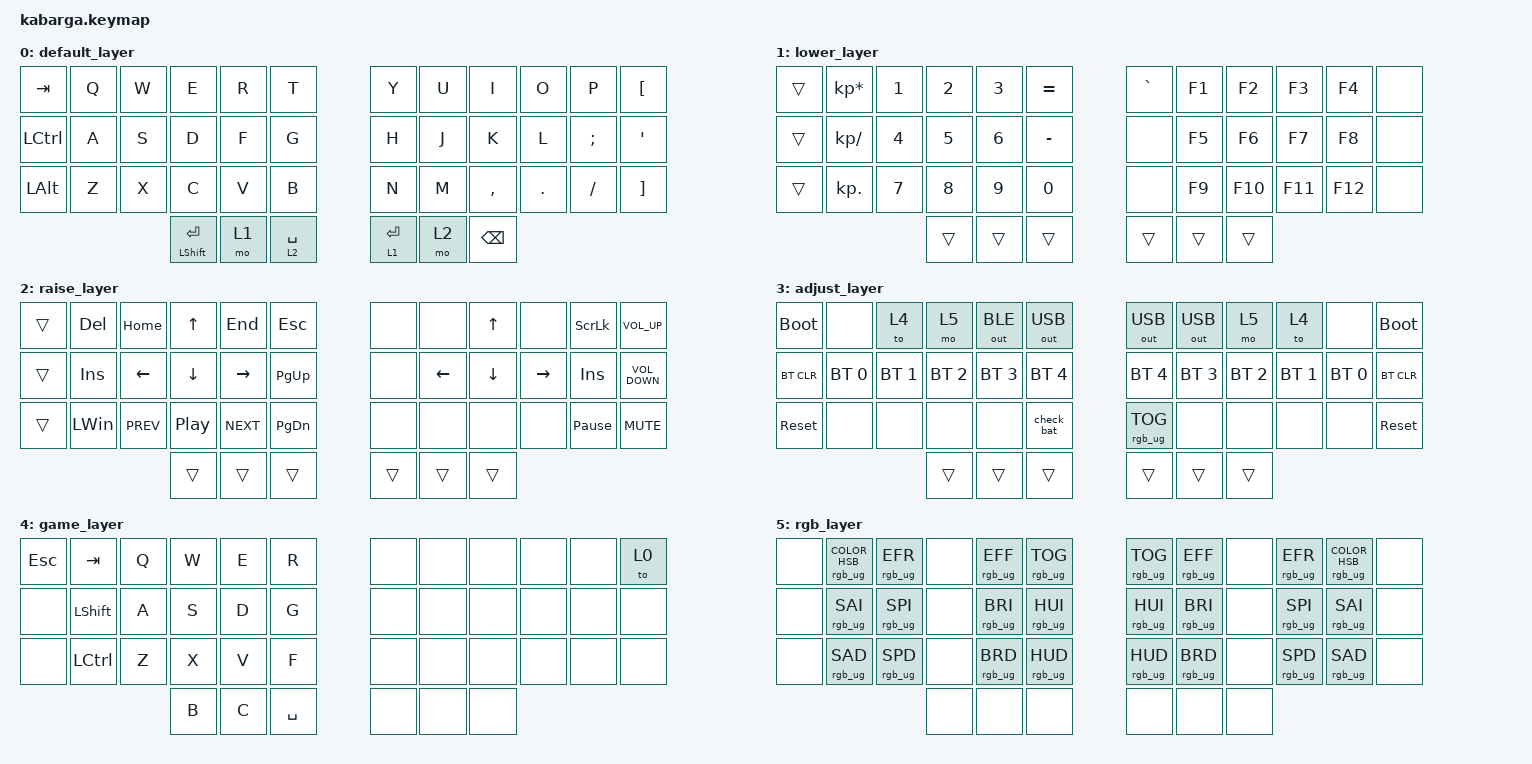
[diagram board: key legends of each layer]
/*
 * Copyright (c) 2020 The ZMK Contributors
 *
 * SPDX-License-Identifier: MIT
 */

#include <behaviors.dtsi>
#include <dt-bindings/zmk/bt.h>
#include <dt-bindings/zmk/keys.h>
#include <dt-bindings/zmk/outputs.h>
#include <dt-bindings/zmk/rgb.h>

#define DEF 0
#define LWR 1
#define RSE 2
#define ADJ 3

&lt { quick_tap_ms = <200>; };

&mt { quick_tap_ms = <200>; };

/ {
    keymap {
        compatible = "zmk,keymap";

        default_layer {
            bindings = <
&kp TAB    &kp Q  &kp W  &kp E             &kp R  &kp T        &kp Y  &kp U        &kp I      &kp O          &kp P     &kp LBKT
&kp LCTRL  &kp A  &kp S  &kp D             &kp F  &kp G        &kp H  &kp J        &kp K      &kp L          &kp SEMI  &kp SQT
&kp LALT   &kp Z  &kp X  &kp C             &kp V  &kp B        &kp N  &kp M        &kp COMMA  &kp DOT        &kp FSLH  &kp RBKT
                         &mt LSHIFT ENTER  &mo 1  &lt 2 SPACE         &lt 1 ENTER  &mo 2      &kp BACKSPACE
            >;
        };

        lower_layer {
            bindings = <
&trans  &kp KP_MULTIPLY  &kp NUMBER_1  &kp NUMBER_2  &kp NUMBER_3  &kp EQUAL     &kp GRAVE  &kp F1  &kp F2   &kp F3   &kp F4   &none
&trans  &kp KP_DIVIDE    &kp NUMBER_4  &kp NUMBER_5  &kp NUMBER_6  &kp MINUS     &none      &kp F5  &kp F6   &kp F7   &kp F8   &none
&trans  &kp KP_DOT       &kp NUMBER_7  &kp NUMBER_8  &kp NUMBER_9  &kp NUMBER_0  &none      &kp F9  &kp F10  &kp F11  &kp F12  &none
                                       &trans        &trans        &trans                   &trans  &trans   &trans
            >;
        };

        raise_layer {
            bindings = <
&trans  &kp DELETE    &kp HOME    &kp UP_ARROW      &kp END     &kp ESC        &none  &none     &kp UP    &none      &kp SLCK         &kp C_VOLUME_UP
&trans  &kp INS       &kp LEFT    &kp DOWN          &kp RIGHT   &kp PAGE_UP    &none  &kp LEFT  &kp DOWN  &kp RIGHT  &kp INS          &kp C_VOLUME_DOWN
&trans  &kp LEFT_WIN  &kp C_PREV  &kp C_PLAY_PAUSE  &kp C_NEXT  &kp PAGE_DOWN  &none  &none     &none     &none      &kp PAUSE_BREAK  &kp K_MUTE
                                  &trans            &trans      &trans                &trans    &trans    &trans
            >;
        };

        adjust_layer {
            bindings = <
&bootloader  &none         &to 4         &mo 5         &out OUT_BLE  &out OUT_USB  &out OUT_USB     &out OUT_USB  &mo 5         &to 4         &none         &bootloader
&bt BT_CLR   &bt BT_SEL 0  &bt BT_SEL 1  &bt BT_SEL 2  &bt BT_SEL 3  &bt BT_SEL 4  &bt BT_SEL 4     &bt BT_SEL 3  &bt BT_SEL 2  &bt BT_SEL 1  &bt BT_SEL 0  &bt BT_CLR
&sys_reset   &none         &none         &none         &none         &check_bat    &rgb_ug RGB_TOG  &none         &none         &none         &none         &sys_reset
                                         &trans        &trans        &trans                         &trans        &trans        &trans
            >;
        };

        game_layer {
            bindings = <
&kp ESC  &kp TAB    &kp Q  &kp W  &kp E  &kp R      &none  &none  &none  &none  &none  &to 0
&none    &kp LSHFT  &kp A  &kp S  &kp D  &kp G      &none  &none  &none  &none  &none  &none
&none    &kp LCTRL  &kp Z  &kp X  &kp V  &kp F      &none  &none  &none  &none  &none  &none
                           &kp B  &kp C  &kp SPACE         &none  &none  &none
            >;
        };

        rgb_layer {
            bindings = <
&none  &rgb_ug RGB_COLOR_HSB(40,100,50)  &rgb_ug RGB_EFR  &none  &rgb_ug RGB_EFF  &rgb_ug RGB_TOG  &rgb_ug RGB_TOG  &rgb_ug RGB_EFF  &none  &rgb_ug RGB_EFR  &rgb_ug RGB_COLOR_HSB(40,100,50)  &none
&none  &rgb_ug RGB_SAI                   &rgb_ug RGB_SPI  &none  &rgb_ug RGB_BRI  &rgb_ug RGB_HUI  &rgb_ug RGB_HUI  &rgb_ug RGB_BRI  &none  &rgb_ug RGB_SPI  &rgb_ug RGB_SAI                   &none
&none  &rgb_ug RGB_SAD                   &rgb_ug RGB_SPD  &none  &rgb_ug RGB_BRD  &rgb_ug RGB_HUD  &rgb_ug RGB_HUD  &rgb_ug RGB_BRD  &none  &rgb_ug RGB_SPD  &rgb_ug RGB_SAD                   &none
                                                          &none  &none            &none                             &none            &none  &none
            >;
        };
    };

    conditional_layers {
        compatible = "zmk,conditional-layers";

        adjust {
            if-layers = <1 2>;
            then-layer = <3>;
        };
    };
};
